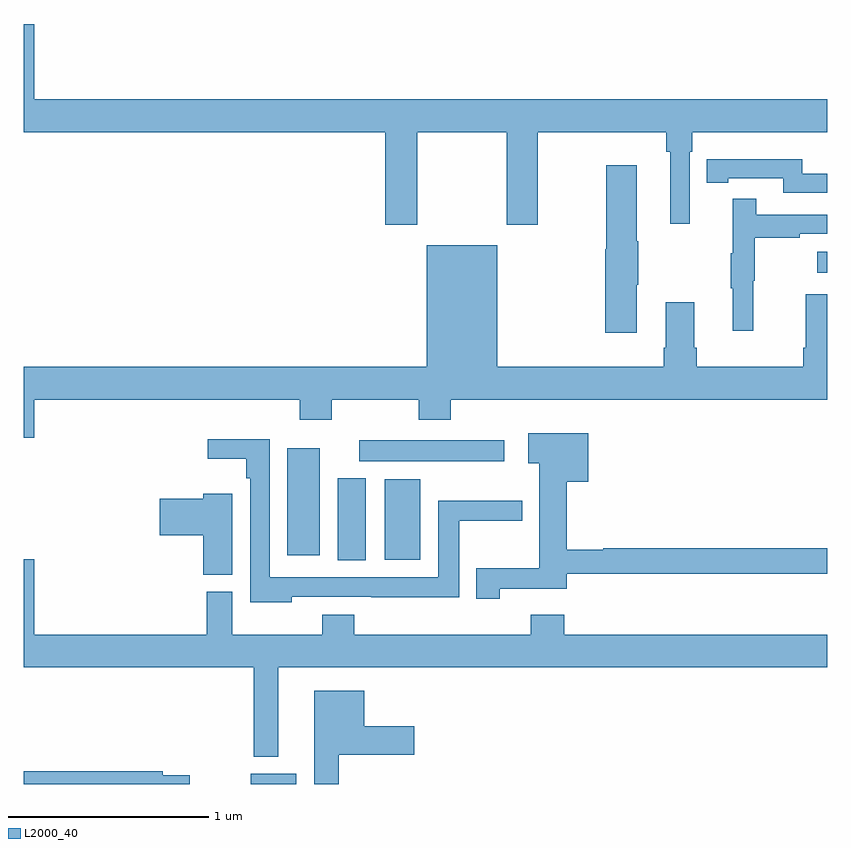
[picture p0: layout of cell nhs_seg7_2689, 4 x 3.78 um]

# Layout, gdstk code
import gdstk
lib = gdstk.Library(unit=1e-6, precision=1e-09)
def R(c, l, rs):  # rectangles x0, y0, x1, y1
    for r in rs: c.add(gdstk.rectangle(r[:2], r[2:], *l))
def P(c, l, *ps):  # polygons
    for p in ps: c.add(gdstk.Polygon(p, *l))
L2000_40 = (2000, 40)

nhs_seg7_2689 = lib.new_cell('nhs_seg7_2689')
R(nhs_seg7_2689, L2000_40, [(286.13,1036,286.357,1036.051), (286.562,1037.113,286.702,1037.521), (286.796,1037.117,286.975,1037.518), (286.313,1037.139,286.474,1037.671), (286.671,1037.606,287.392,1037.71), (288.951,1038.545,289,1038.649)])
P(nhs_seg7_2689, L2000_40, [(286.959,1039.244),(287.404,1039.244),(287.404,1038.783),(287.559,1038.783),(287.559,1039.244),(288.199,1039.244),(288.199,1039.148),(288.218,1039.148),(288.218,1038.789),(288.315,1038.789),(288.315,1039.148),(288.329,1039.148),(288.329,1039.244),(289,1039.244),(289,1039.408),(285.052,1039.408),(285.052,1039.783),(285,1039.783),(285,1039.244),(286.799,1039.244),(286.799,1038.783),(286.959,1038.783)],
  [(289,1039.038),(288.876,1039.038),(288.876,1039.111),(288.508,1039.111),(288.508,1039.11),(288.4,1039.11),(288.4,1038.994),(288.508,1038.994),(288.508,1039.014),(288.78,1039.014),(288.78,1038.942),(289,1038.942)],
  [(288.052,1038.484),(288.06,1038.484),(288.06,1038.701),(288.052,1038.701),(288.052,1039.081),(287.899,1039.081),(287.899,1038.663),(287.894,1038.663),(287.894,1038.246),(288.052,1038.246)],
  [(288.632,1038.504),(288.64,1038.504),(288.64,1038.718),(288.863,1038.718),(288.863,1038.738),(289,1038.738),(289,1038.834),(288.647,1038.834),(288.647,1038.913),(288.53,1038.913),(288.53,1038.641),(288.519,1038.641),(288.519,1038.467),(288.53,1038.467),(288.53,1038.255),(288.632,1038.255)],
  [(288.197,1038.397),(288.197,1038.172),(288.185,1038.172),(288.185,1038.076),(287.356,1038.076),(287.356,1038.682),(287.006,1038.682),(287.006,1038.076),(285,1038.076),(285,1037.724),(285.052,1037.724),(285.052,1037.912),(286.373,1037.912),(286.373,1037.813),(286.533,1037.813),(286.533,1037.912),(286.966,1037.912),(286.966,1037.813),(287.126,1037.813),(287.126,1037.912),(289,1037.912),(289,1038.439),(288.893,1038.439),(288.893,1038.172),(288.881,1038.172),(288.881,1038.076),(288.35,1038.076),(288.35,1038.172),(288.337,1038.172),(288.337,1038.397)],
  [(287.37,1036.973),(287.702,1036.973),(287.702,1037.046),(289,1037.046),(289,1037.174),(287.885,1037.174),(287.885,1037.167),(287.702,1037.167),(287.702,1037.504),(287.809,1037.504),(287.809,1037.746),(287.511,1037.746),(287.511,1037.597),(287.567,1037.597),(287.567,1037.073),(287.252,1037.073),(287.252,1036.923),(287.37,1036.923)],
  [(286.335,1036.932),(286.729,1036.932),(286.729,1036.93),(287.167,1036.93),(287.167,1037.311),(287.482,1037.311),(287.482,1037.411),(287.063,1037.411),(287.063,1037.028),(286.224,1037.028),(286.224,1037.717),(285.915,1037.717),(285.915,1037.618),(286.108,1037.618),(286.108,1037.522),(286.128,1037.522),(286.128,1036.904),(286.335,1036.904)],
  [(286.039,1037.446),(285.893,1037.446),(285.893,1037.42),(285.678,1037.42),(285.678,1037.237),(285.893,1037.237),(285.893,1037.041),(286.039,1037.041)],
  [(286.267,1036.58),(289,1036.58),(289,1036.744),(287.69,1036.744),(287.69,1036.843),(287.525,1036.843),(287.525,1036.744),(286.646,1036.744),(286.646,1036.843),(286.486,1036.843),(286.486,1036.744),(286.039,1036.744),(286.039,1036.956),(285.911,1036.956),(285.911,1036.744),(285.052,1036.744),(285.052,1037.119),(285,1037.119),(285,1036.58),(286.146,1036.58),(286.146,1036.136),(286.267,1036.136)],
  [(286.567,1036.145),(286.945,1036.145),(286.945,1036.287),(286.696,1036.287),(286.696,1036.465),(286.445,1036.465),(286.445,1036),(286.567,1036)],
  [(285.826,1036.044),(285.692,1036.044),(285.692,1036.064),(285,1036.064),(285,1036),(285.826,1036)])

lib.write_gds('nhs_seg7_2689.gds')
